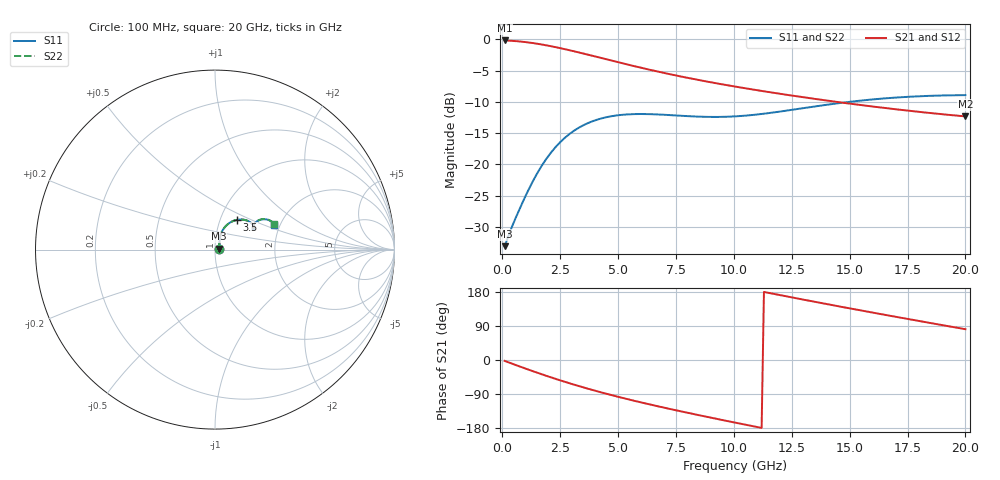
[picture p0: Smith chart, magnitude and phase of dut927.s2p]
! Touchstone file exported from HFSS 2024.1.0
!  File:  C:/UserFiles/LocalFiles/RDL_TSV_Batchsim/temp_RDL_TSV_927_1779959523.aedt
!  Generated:  05:32:52 PM May 28, 2026
!  Design:  RDL_TSV
!  Project:  temp_RDL_TSV_927_1779959523
!  Setup:  Setup1
!  Solution:  Sweep
! Variables:
!  dtsv = 7.89um
!  hbump = 3um
!  htsv = 98.39um
!  ldown = 524.95um
!  lrdl = 603.16um
!  p = 40
!  p1 = 49.07um
!  rhole = 10um
!  subl = 3987.49um
!  t = 450um
!  tdown = 3.32um
!  trdl = 3.73um
!  viad = 10um
!  wdown = 17.58um
!  wrdl = 21.05um
!  xbump = 18um
# GHz S MA R 50.000000
! Terminal data exported
! Port[1] = TM1_1_T1
! Port[2] = TM1_4_T1
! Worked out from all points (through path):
!   200 points, 100 MHz to 20 GHz, reference 50 ohm
!   highest |S21| = -0.19 dB at 100 MHz (marker M1); lowest = -12.3 dB at 20 GHz (marker M2)
!   group delay of S21, straight-line fit = 36.8 ps
!   lowest |S11| = -33.0 dB at 100 MHz (marker M3), VSWR 1.05, Z = 52.2 + j0.597 ohm
!   |S11| at or under -10 dB: start of sweep to 14.99 GHz
!   |S22| runs from -33.0 to -8.9 dB; largest |S21 - S12| = 6.8e-15
!   S11 on the Smith chart (normalised r, x): 100 MHz: 1.04, +0.01; 3.5 GHz: 1.20, +0.41; 20 GHz: 1.86, +0.59
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0.1  0.02226 14.9  0.9782 -2.4  0.9782 -2.4  0.02226 14.9
! Gamma 0 0 0 0
! Port Impedance 50 0 50 0
0.5  0.03467 45.9  0.9692 -11.5  0.9692 -11.5  0.03467 45.9
0.9  0.05094 60.6  0.9543 -20.4  0.9543 -20.4  0.05092 60.6
1.4  0.07832 68.4  0.9279 -31.3  0.9279 -31.3  0.07824 68.3
1.8  0.1041 69.1  0.9019 -39.7  0.9019 -39.7  0.104 69.1
2.2  0.131 67.1  0.8729 -47.8  0.8729 -47.8  0.1308 67.0
2.6  0.157 63.5  0.8418 -55.6  0.8418 -55.6  0.1567 63.5
3  0.1807 59.3  0.8097 -63.2  0.8097 -63.2  0.1804 59.3
3.5  0.2057 53.7  0.7693 -72.3  0.7693 -72.3  0.2053 53.7
4.3  0.2338 45.1  0.7066 -85.9  0.7066 -85.9  0.2334 45.2
5.1  0.2484 38.0  0.6489 -98.6  0.6489 -98.6  0.248 38.0
5.9  0.2529 32.6  0.5976 -110.6  0.5976 -110.6  0.2525 32.6
6.8  0.2505 28.7  0.5476 -123.2  0.5476 -123.2  0.2501 28.7
7.5  0.2463 27.2  0.5138 -132.7  0.5138 -132.7  0.2459 27.2
8.3  0.2417 26.9  0.4798 -143.1  0.4798 -143.1  0.2414 27.0
10.1  0.2425 30.0  0.4175 -165.8  0.4175 -165.8  0.2422 30.1
11.8  0.2615 33.2  0.3715 173.6  0.3715 173.6  0.2614 33.4
13.4  0.2889 33.9  0.336 154.7  0.336 154.7  0.2889 34.0
15  0.3164 32.3  0.3063 136.3  0.3063 136.3  0.3165 32.4
16.7  0.3392 29.3  0.28 117.2  0.28 117.2  0.3394 29.4
18.3  0.3524 26.0  0.2597 99.7  0.2597 99.7  0.3526 26.1
20  0.358 22.9  0.242 81.3  0.242 81.3  0.3583 23.0
